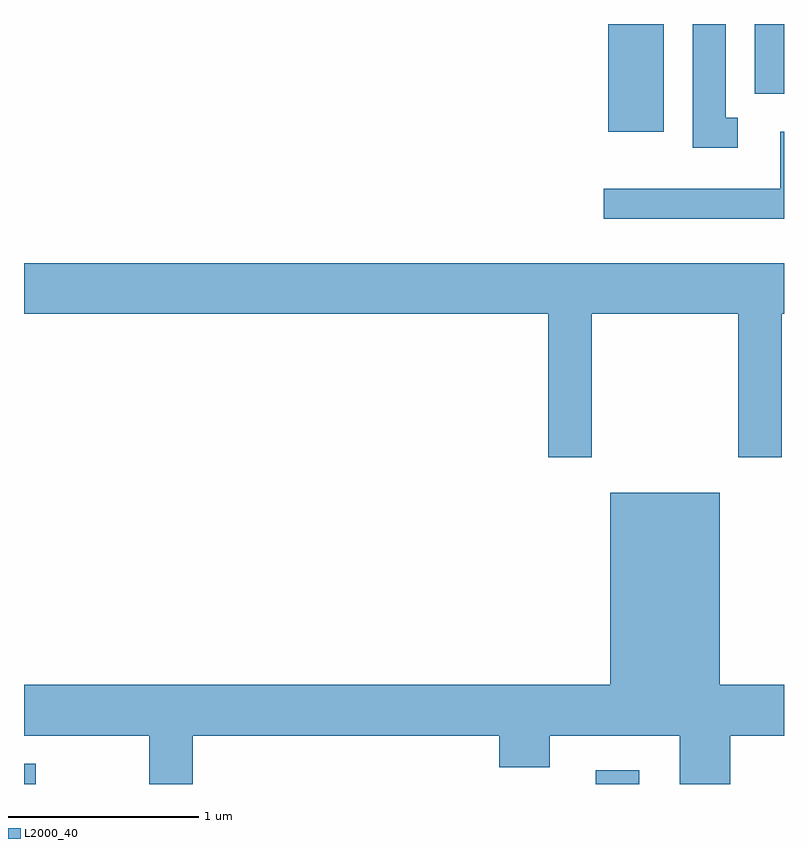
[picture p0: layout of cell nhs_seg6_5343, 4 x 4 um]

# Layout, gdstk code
import gdstk
lib = gdstk.Library(unit=1e-6, precision=1e-09)
def R(c, l, rs):  # rectangles x0, y0, x1, y1
    for r in rs: c.add(gdstk.rectangle(r[:2], r[2:], *l))
def P(c, l, *ps):  # polygons
    for p in ps: c.add(gdstk.Polygon(p, *l))
L2000_40 = (2000, 40)

nhs_seg6_5343 = lib.new_cell('nhs_seg6_5343')
R(nhs_seg6_5343, L2000_40, [(347.611,1614.162,347.674,1614.268), (350.621,1614.162,350.849,1614.234), (350.686,1617.596,350.979,1618.162), (351.456,1617.796,351.611,1618.162)])
P(nhs_seg6_5343, L2000_40, [(351.368,1617.669),(351.304,1617.669),(351.304,1618.162),(351.131,1618.162),(351.131,1617.511),(351.368,1617.511)],
  [(351.611,1617.594),(351.591,1617.594),(351.591,1617.294),(350.663,1617.294),(350.663,1617.136),(351.611,1617.136)],
  [(350.599,1616.636),(351.371,1616.636),(351.371,1615.881),(351.599,1615.881),(351.599,1616.636),(351.611,1616.636),(351.611,1616.904),(347.611,1616.904),(347.611,1616.636),(350.371,1616.636),(350.371,1615.881),(350.599,1615.881)],
  [(348.499,1614.416),(350.111,1614.416),(350.111,1614.251),(350.379,1614.251),(350.379,1614.416),(351.061,1614.416),(351.061,1614.162),(351.329,1614.162),(351.329,1614.416),(351.611,1614.416),(351.611,1614.684),(351.274,1614.684),(351.274,1615.694),(350.696,1615.694),(350.696,1614.684),(347.611,1614.684),(347.611,1614.416),(348.271,1614.416),(348.271,1614.162),(348.499,1614.162)])

lib.write_gds('nhs_seg6_5343.gds')
